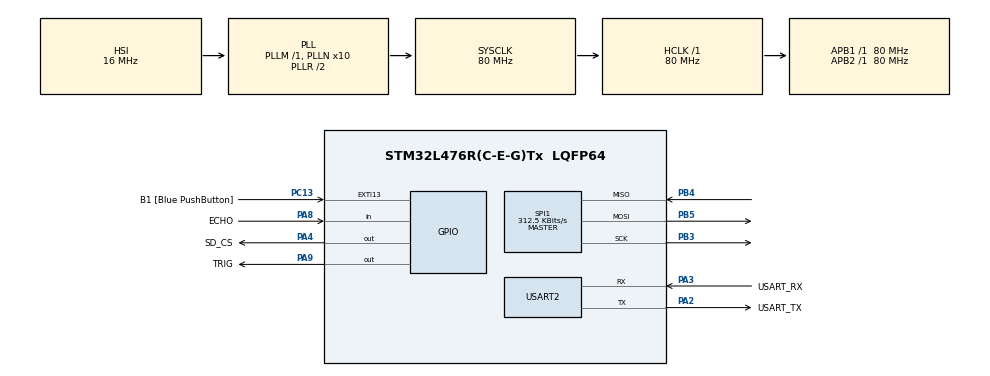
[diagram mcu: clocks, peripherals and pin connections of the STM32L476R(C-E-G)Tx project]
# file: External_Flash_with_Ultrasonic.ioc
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Mcu.Family=STM32L4
Mcu.Name=STM32L476R(C-E-G)Tx
Mcu.Package=LQFP64
NVIC.PriorityGroup=NVIC_PRIORITYGROUP_4
PA13\ (JTMS-SWDIO).GPIO_Label=TMS
PA13\ (JTMS-SWDIO).Mode=Serial_Wire
PA13\ (JTMS-SWDIO).Signal=SYS_JTMS-SWDIO
PA14\ (JTCK-SWCLK).GPIO_Label=TCK
PA14\ (JTCK-SWCLK).Mode=Serial_Wire
PA14\ (JTCK-SWCLK).Signal=SYS_JTCK-SWCLK
PA2.GPIO_Label=USART_TX
PA2.GPIO_Mode=GPIO_MODE_AF_PP
PA2.GPIO_PuPd=GPIO_NOPULL
PA2.GPIO_Speed=GPIO_SPEED_FREQ_VERY_HIGH
PA2.Mode=Asynchronous
PA2.Signal=USART2_TX
PA3.GPIO_Label=USART_RX
PA3.GPIO_Mode=GPIO_MODE_AF_PP
PA3.GPIO_PuPd=GPIO_NOPULL
PA3.GPIO_Speed=GPIO_SPEED_FREQ_VERY_HIGH
PA3.Mode=Asynchronous
PA3.Signal=USART2_RX
PA4.GPIO_Label=SD_CS
PA4.Signal=GPIO_Output
PA8.GPIO_Label=ECHO
PA8.Signal=GPIO_Input
PA9.GPIO_Label=TRIG
PA9.Signal=GPIO_Output
PB3\ (JTDO-TRACESWO).Mode=Full_Duplex_Master
PB3\ (JTDO-TRACESWO).Signal=SPI1_SCK
PB4\ (NJTRST).Mode=Full_Duplex_Master
PB4\ (NJTRST).Signal=SPI1_MISO
PB5.Mode=Full_Duplex_Master
PB5.Signal=SPI1_MOSI
PC13.GPIO_Label=B1 [Blue PushButton]
PC13.GPIO_ModeDefaultEXTI=GPIO_MODE_IT_FALLING
PC13.GPIO_PuPd=GPIO_NOPULL
PC13.Signal=GPXTI13
PC14-OSC32_IN\ (PC14).Mode=LSE-External-Oscillator
PC14-OSC32_IN\ (PC14).Signal=RCC_OSC32_IN
PC15-OSC32_OUT\ (PC15).Mode=LSE-External-Oscillator
PC15-OSC32_OUT\ (PC15).Signal=RCC_OSC32_OUT
PH0-OSC_IN\ (PH0).Signal=RCC_OSC_IN
PH1-OSC_OUT\ (PH1).Signal=RCC_OSC_OUT
ProjectManager.HeapSize=0x200
ProjectManager.StackSize=0x400
ProjectManager.TargetToolchain=STM32CubeIDE
RCC.ADCFreq_Value=64000000
RCC.AHBFreq_Value=80000000
RCC.APB1Freq_Value=80000000
RCC.APB1TimFreq_Value=80000000
RCC.APB2Freq_Value=80000000
RCC.APB2TimFreq_Value=80000000
RCC.CortexFreq_Value=80000000
RCC.HCLKFreq_Value=80000000
RCC.HSE_VALUE=8000000
RCC.HSI_VALUE=16000000
RCC.MSI_VALUE=4000000
RCC.PLLN=10
RCC.PLLSourceVirtual=RCC_PLLSOURCE_HSI
RCC.PREFETCH_ENABLE=1
RCC.SYSCLKFreq_VALUE=80000000
RCC.SYSCLKSource=RCC_SYSCLKSOURCE_PLLCLK
RCC.USBFreq_Value=64000000
RCC.VCOOutputFreq_Value=160000000
SPI1.BaudRatePrescaler=SPI_BAUDRATEPRESCALER_256
SPI1.CalculateBaudRate=312.5 KBits/s
SPI1.Direction=SPI_DIRECTION_2LINES
SPI1.Mode=SPI_MODE_MASTER
SPI1.VirtualType=VM_MASTER
TIM1.Prescaler=79
USART2.VirtualMode-Asynchronous=VM_ASYNC
VP_FATFS_VS_Generic.Mode=User_defined
VP_TIM1_VS_ClockSourceINT.Mode=Internal
board=NUCLEO-L476RG

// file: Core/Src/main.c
/* USER CODE BEGIN Header */
/**
  ******************************************************************************
  * @file           : main.c
  * @brief          : SD Card + Ultrasonic Sensor on STM32L476RG
  ******************************************************************************
  */
/* USER CODE END Header */

#include "main.h"
#include "fatfs.h"
#include "string.h"
#include "stdio.h"

SPI_HandleTypeDef hspi1;
TIM_HandleTypeDef htim1;
UART_HandleTypeDef huart2;

void SystemClock_Config(void);
static void MX_GPIO_Init(void);
static void MX_USART2_UART_Init(void);
static void MX_SPI1_Init(void);
static void MX_TIM1_Init(void);

/* USER CODE BEGIN 0 */

// Microsecond delay — timer must be running continuously
void delay_us(uint16_t us) {
    uint32_t start = __HAL_TIM_GET_COUNTER(&htim1);
    while ((__HAL_TIM_GET_COUNTER(&htim1) - start) < us);
}

// Get distance from HC-SR04 in cm
float get_distance_cm(void) {
    uint32_t t_start, t_stop, timeout_start;

    // Send 10us TRIG pulse
    HAL_GPIO_WritePin(TRIG_GPIO_Port, TRIG_Pin, GPIO_PIN_SET);
    delay_us(10);
    HAL_GPIO_WritePin(TRIG_GPIO_Port, TRIG_Pin, GPIO_PIN_RESET);

    // Wait for ECHO to go HIGH (timeout 30ms)
    timeout_start = __HAL_TIM_GET_COUNTER(&htim1);
    while (HAL_GPIO_ReadPin(ECHO_GPIO_Port, ECHO_Pin) == GPIO_PIN_RESET) {
        if ((__HAL_TIM_GET_COUNTER(&htim1) - timeout_start) > 30000)
            return 0.0f;
    }

    // Capture start time
    t_start = __HAL_TIM_GET_COUNTER(&htim1);

    // Wait for ECHO to go LOW (timeout 30ms)
    while (HAL_GPIO_ReadPin(ECHO_GPIO_Port, ECHO_Pin) == GPIO_PIN_SET) {
        if ((__HAL_TIM_GET_COUNTER(&htim1) - t_start) > 30000)
            return 0.0f;
    }

    // Capture stop time
    t_stop = __HAL_TIM_GET_COUNTER(&htim1);

    // Distance = pulse_us * 0.034 / 2
    return ((t_stop - t_start) * 0.034f) / 2.0f;
}

/* USER CODE END 0 */

int main(void)
{
    HAL_Init();
    SystemClock_Config();
    MX_GPIO_Init();
    MX_USART2_UART_Init();
    MX_SPI1_Init();
    MX_TIM1_Init();
    MX_FATFS_Init();

    /* USER CODE BEGIN 2 */

    // Start timer — keep running always for us delay
    HAL_TIM_Base_Start(&htim1);
    HAL_Delay(1000);

    char uart_msg[80];
    FATFS fs;
    FIL fil;
    FRESULT fres;
    char file_buf[64];
    UINT bw;

    // Mount SD card
    fres = f_mount(&fs, "", 1);
    if (fres != FR_OK) {
        snprintf(uart_msg, sizeof(uart_msg), "SD Mount FAILED! err=%d\r\n", fres);
        HAL_UART_Transmit(&huart2, (uint8_t*)uart_msg, strlen(uart_msg), HAL_MAX_DELAY);
        Error_Handler();
    }

    HAL_UART_Transmit(&huart2, (uint8_t*)"SD Card Mounted OK!\r\n", 21, HAL_MAX_DELAY);

    /* USER CODE END 2 */

    while (1)
    {
        /* USER CODE BEGIN WHILE */

        // Step 1: Read distance from ultrasonic sensor
        float distance = get_distance_cm();

        // Step 2: Open file on SD card (append mode)
        fres = f_open(&fil, "distance.txt", FA_OPEN_APPEND | FA_WRITE);

        if (fres == FR_OK) {
            // Step 3: Write distance to file
            snprintf(file_buf, sizeof(file_buf), "Distance: %.2f cm\r\n", distance);
            f_write(&fil, file_buf, strlen(file_buf), &bw);
            f_close(&fil);  // Always close after write!

            // Step 4: Print result to UART
            snprintf(uart_msg, sizeof(uart_msg),"Saved to SD: %.2f cm | Bytes: %d\r\n", distance, bw);
        } else {
            snprintf(uart_msg, sizeof(uart_msg),
                     "File open FAILED! err=%d\r\n", fres);
        }

        HAL_UART_Transmit(&huart2, (uint8_t*)uart_msg, strlen(uart_msg), HAL_MAX_DELAY);
        HAL_Delay(2000);

        /* USER CODE END WHILE */
    }
}

void SystemClock_Config(void)
{
    RCC_OscInitTypeDef RCC_OscInitStruct = {0};
    RCC_ClkInitTypeDef RCC_ClkInitStruct = {0};

    if (HAL_PWREx_ControlVoltageScaling(PWR_REGULATOR_VOLTAGE_SCALE1) != HAL_OK)
        Error_Handler();

    RCC_OscInitStruct.OscillatorType      = RCC_OSCILLATORTYPE_HSI;
    RCC_OscInitStruct.HSIState            = RCC_HSI_ON;
    RCC_OscInitStruct.HSICalibrationValue = RCC_HSICALIBRATION_DEFAULT;
    RCC_OscInitStruct.PLL.PLLState        = RCC_PLL_ON;
    RCC_OscInitStruct.PLL.PLLSource       = RCC_PLLSOURCE_HSI;
    RCC_OscInitStruct.PLL.PLLM            = 1;
    RCC_OscInitStruct.PLL.PLLN            = 10;
    RCC_OscInitStruct.PLL.PLLP            = RCC_PLLP_DIV7;
    RCC_OscInitStruct.PLL.PLLQ            = RCC_PLLQ_DIV2;
    RCC_OscInitStruct.PLL.PLLR            = RCC_PLLR_DIV2;
    if (HAL_RCC_OscConfig(&RCC_OscInitStruct) != HAL_OK)
        Error_Handler();

    RCC_ClkInitStruct.ClockType      = RCC_CLOCKTYPE_HCLK | RCC_CLOCKTYPE_SYSCLK
                                     | RCC_CLOCKTYPE_PCLK1 | RCC_CLOCKTYPE_PCLK2;
    RCC_ClkInitStruct.SYSCLKSource   = RCC_SYSCLKSOURCE_PLLCLK;
    RCC_ClkInitStruct.AHBCLKDivider  = RCC_SYSCLK_DIV1;
    RCC_ClkInitStruct.APB1CLKDivider = RCC_HCLK_DIV1;
    RCC_ClkInitStruct.APB2CLKDivider = RCC_HCLK_DIV1;
    if (HAL_RCC_ClockConfig(&RCC_ClkInitStruct, FLASH_LATENCY_4) != HAL_OK)
        Error_Handler();
}

static void MX_SPI1_Init(void)
{
    hspi1.Instance               = SPI1;
    hspi1.Init.Mode              = SPI_MODE_MASTER;
    hspi1.Init.Direction         = SPI_DIRECTION_2LINES;
    hspi1.Init.DataSize          = SPI_DATASIZE_8BIT;   // MUST be 8BIT for SD card
    hspi1.Init.CLKPolarity       = SPI_POLARITY_LOW;
    hspi1.Init.CLKPhase          = SPI_PHASE_1EDGE;
    hspi1.Init.NSS               = SPI_NSS_SOFT;
    hspi1.Init.BaudRatePrescaler = SPI_BAUDRATEPRESCALER_256;  // Slow for init
    hspi1.Init.FirstBit          = SPI_FIRSTBIT_MSB;
    hspi1.Init.TIMode            = SPI_TIMODE_DISABLE;
    hspi1.Init.CRCCalculation    = SPI_CRCCALCULATION_DISABLE;
    hspi1.Init.CRCPolynomial     = 7;
    hspi1.Init.CRCLength         = SPI_CRC_LENGTH_DATASIZE;
    hspi1.Init.NSSPMode          = SPI_NSS_PULSE_DISABLE;  // Disable NSS pulse
    if (HAL_SPI_Init(&hspi1) != HAL_OK)
        Error_Handler();
}

static void MX_TIM1_Init(void)
{
    TIM_ClockConfigTypeDef sClockSourceConfig = {0};
    TIM_MasterConfigTypeDef sMasterConfig = {0};

    htim1.Instance               = TIM1;
    htim1.Init.Prescaler         = 79;   // 80MHz / 80 = 1MHz = 1us/tick
    htim1.Init.CounterMode       = TIM_COUNTERMODE_UP;
    htim1.Init.Period            = 0xFFFF;
    htim1.Init.ClockDivision     = TIM_CLOCKDIVISION_DIV1;
    htim1.Init.RepetitionCounter = 0;
    htim1.Init.AutoReloadPreload = TIM_AUTORELOAD_PRELOAD_DISABLE;
    if (HAL_TIM_Base_Init(&htim1) != HAL_OK)
        Error_Handler();

    sClockSourceConfig.ClockSource = TIM_CLOCKSOURCE_INTERNAL;
    if (HAL_TIM_ConfigClockSource(&htim1, &sClockSourceConfig) != HAL_OK)
        Error_Handler();

    sMasterConfig.MasterOutputTrigger  = TIM_TRGO_RESET;
    sMasterConfig.MasterOutputTrigger2 = TIM_TRGO2_RESET;
    sMasterConfig.MasterSlaveMode      = TIM_MASTERSLAVEMODE_DISABLE;
    if (HAL_TIMEx_MasterConfigSynchronization(&htim1, &sMasterConfig) != HAL_OK)
        Error_Handler();
}

static void MX_USART2_UART_Init(void)
{
    huart2.Instance                    = USART2;
    huart2.Init.BaudRate               = 115200;
    huart2.Init.WordLength             = UART_WORDLENGTH_8B;
    huart2.Init.StopBits               = UART_STOPBITS_1;
    huart2.Init.Parity                 = UART_PARITY_NONE;
    huart2.Init.Mode                   = UART_MODE_TX_RX;
    huart2.Init.HwFlowCtl              = UART_HWCONTROL_NONE;
    huart2.Init.OverSampling           = UART_OVERSAMPLING_16;
    huart2.Init.OneBitSampling         = UART_ONE_BIT_SAMPLE_DISABLE;
    huart2.AdvancedInit.AdvFeatureInit = UART_ADVFEATURE_NO_INIT;
    if (HAL_UART_Init(&huart2) != HAL_OK)
        Error_Handler();
}

static void MX_GPIO_Init(void)
{
    GPIO_InitTypeDef GPIO_InitStruct = {0};

    __HAL_RCC_GPIOC_CLK_ENABLE();
    __HAL_RCC_GPIOH_CLK_ENABLE();
    __HAL_RCC_GPIOA_CLK_ENABLE();
    __HAL_RCC_GPIOB_CLK_ENABLE();

    // SD_CS HIGH (deselected) and TRIG LOW at startup
    HAL_GPIO_WritePin(SD_CS_GPIO_Port, SD_CS_Pin, GPIO_PIN_SET);
    HAL_GPIO_WritePin(TRIG_GPIO_Port, TRIG_Pin, GPIO_PIN_RESET);

    // B1 button
    GPIO_InitStruct.Pin  = B1_Pin;
    GPIO_InitStruct.Mode = GPIO_MODE_IT_FALLING;
    GPIO_InitStruct.Pull = GPIO_NOPULL;
    HAL_GPIO_Init(B1_GPIO_Port, &GPIO_InitStruct);

    // SD_CS pin (PA4)
    GPIO_InitStruct.Pin   = SD_CS_Pin;
    GPIO_InitStruct.Mode  = GPIO_MODE_OUTPUT_PP;
    GPIO_InitStruct.Pull  = GPIO_NOPULL;
    GPIO_InitStruct.Speed = GPIO_SPEED_FREQ_HIGH;
    HAL_GPIO_Init(SD_CS_GPIO_Port, &GPIO_InitStruct);

    // TRIG pin (PA9 output)
    GPIO_InitStruct.Pin   = TRIG_Pin;
    GPIO_InitStruct.Mode  = GPIO_MODE_OUTPUT_PP;
    GPIO_InitStruct.Pull  = GPIO_NOPULL;
    GPIO_InitStruct.Speed = GPIO_SPEED_FREQ_LOW;
    HAL_GPIO_Init(TRIG_GPIO_Port, &GPIO_InitStruct);

    // ECHO pin (PA8 input)
    GPIO_InitStruct.Pin  = ECHO_Pin;
    GPIO_InitStruct.Mode = GPIO_MODE_INPUT;
    GPIO_InitStruct.Pull = GPIO_NOPULL;
    HAL_GPIO_Init(ECHO_GPIO_Port, &GPIO_InitStruct);
}

void Error_Handler(void)
{
    __disable_irq();
    while (1) {}
}
